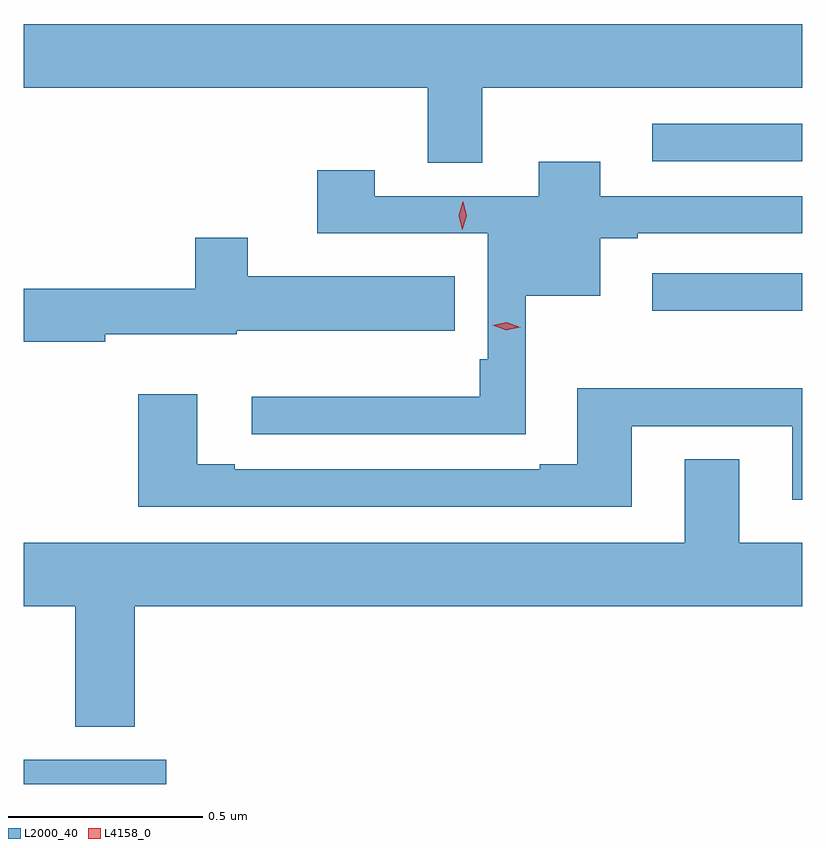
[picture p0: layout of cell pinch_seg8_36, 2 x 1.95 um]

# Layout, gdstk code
import gdstk
lib = gdstk.Library(unit=1e-6, precision=1e-09)
def R(c, l, rs):  # rectangles x0, y0, x1, y1
    for r in rs: c.add(gdstk.rectangle(r[:2], r[2:], *l))
def P(c, l, *ps):  # polygons
    for p in ps: c.add(gdstk.Polygon(p, *l))
L2000_40 = (2000, 40)
L4158_0 = (4158, 0)

pinch_seg8_36 = lib.new_cell('pinch_seg8_36')
R(pinch_seg8_36, L2000_40, [(925.925,1153.34,926.291,1153.402), (927.54,1154.555,927.925,1154.652), (927.54,1154.94,927.925,1155.036)])
P(pinch_seg8_36, L2000_40, [(927.103,1155.128),(927.925,1155.128),(927.925,1155.292),(925.925,1155.292),(925.925,1155.128),(926.963,1155.128),(926.963,1154.935),(927.103,1154.935)],
  [(927.214,1154.594),(927.406,1154.594),(927.406,1154.742),(927.502,1154.742),(927.502,1154.754),(927.925,1154.754),(927.925,1154.85),(927.406,1154.85),(927.406,1154.938),(927.248,1154.938),(927.248,1154.85),(926.827,1154.85),(926.827,1154.917),(926.679,1154.917),(926.679,1154.754),(927.117,1154.754),(927.117,1154.431),(927.097,1154.431),(927.097,1154.335),(926.511,1154.335),(926.511,1154.238),(927.214,1154.238)],
  [(926.135,1154.495),(926.472,1154.495),(926.472,1154.504),(927.032,1154.504),(927.032,1154.644),(926.5,1154.644),(926.5,1154.743),(926.366,1154.743),(926.366,1154.612),(925.925,1154.612),(925.925,1154.476),(926.135,1154.476)],
  [(927.487,1154.259),(927.899,1154.259),(927.899,1154.07),(927.925,1154.07),(927.925,1154.357),(927.347,1154.357),(927.347,1154.161),(927.251,1154.161),(927.251,1154.148),(926.467,1154.148),(926.467,1154.161),(926.371,1154.161),(926.371,1154.341),(926.219,1154.341),(926.219,1154.052),(927.487,1154.052)],
  [(926.21,1153.796),(927.925,1153.796),(927.925,1153.96),(927.763,1153.96),(927.763,1154.174),(927.623,1154.174),(927.623,1153.96),(925.925,1153.96),(925.925,1153.796),(926.057,1153.796),(926.057,1153.487),(926.21,1153.487)])
P(pinch_seg8_36, L4158_0, [(927.165,1154.506),(927.13,1154.518),(927.13,1154.518),(927.13,1154.518),(927.166,1154.526),(927.201,1154.513),(927.202,1154.513),(927.201,1154.513)],
  [(927.052,1154.763),(927.052,1154.764),(927.043,1154.799),(927.053,1154.835),(927.054,1154.835),(927.054,1154.835),(927.063,1154.799),(927.052,1154.764)])

lib.write_gds('pinch_seg8_36.gds')
